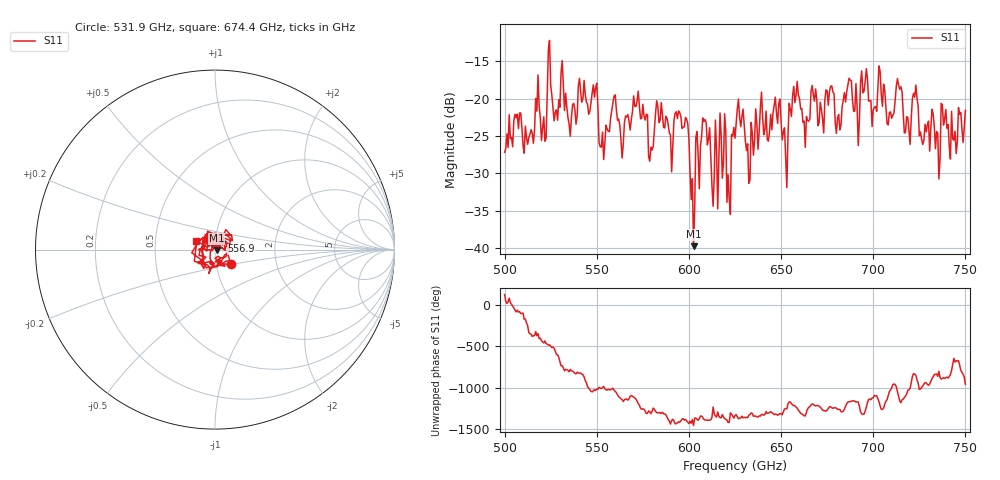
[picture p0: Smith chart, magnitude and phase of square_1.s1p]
!Created with skrf (http://scikit-rf.org).
# GHz S MA R 50.0
!freq magS11 angS11
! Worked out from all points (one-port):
!   401 points, 500 GHz to 750 GHz, reference 50 ohm
!   lowest |S11| = -39.7 dB at 602.5 GHz (marker M1), VSWR 1.02, Z = 51 - j0.395 ohm
!   |S11| at or under -10 dB: start of sweep to end of sweep
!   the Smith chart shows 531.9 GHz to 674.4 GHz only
!   S11 on the Smith chart (normalised r, x): 531.9 GHz: 1.18, -0.19; 556.9 GHz: 1.07, +0.10; 674.4 GHz: 0.81, +0.08
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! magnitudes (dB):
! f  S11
! 500 GHz  -27.2
! 531.2 GHz  -14.9
! 531.9 GHz  -18.3
! 535 GHz  -23.4
! 548.8 GHz  -19.8
! 552.5 GHz  -26.5
! 556.9 GHz  -24.4
! 562.5 GHz  -23.5
! 593.8 GHz  -22.6
! 598.8 GHz  -22.7
! 602.5 GHz  -39.7
! 608.1 GHz  -23.0
! 621.9 GHz  -33.4
! 625 GHz  -25.3
! 631.9 GHz  -26.0
! 648.1 GHz  -23.3
! 651.9 GHz  -23.9
! 656.2 GHz  -19.6
! 674.4 GHz  -18.8
! 681.2 GHz  -22.1
! 687.5 GHz  -17.5
! 708.8 GHz  -21.9
! 713.8 GHz  -18.2
! 718.8 GHz  -22.5
! 722.5 GHz  -19.8
! 735 GHz  -24.6
! 738.1 GHz  -23.5
! 750 GHz  -21.6
